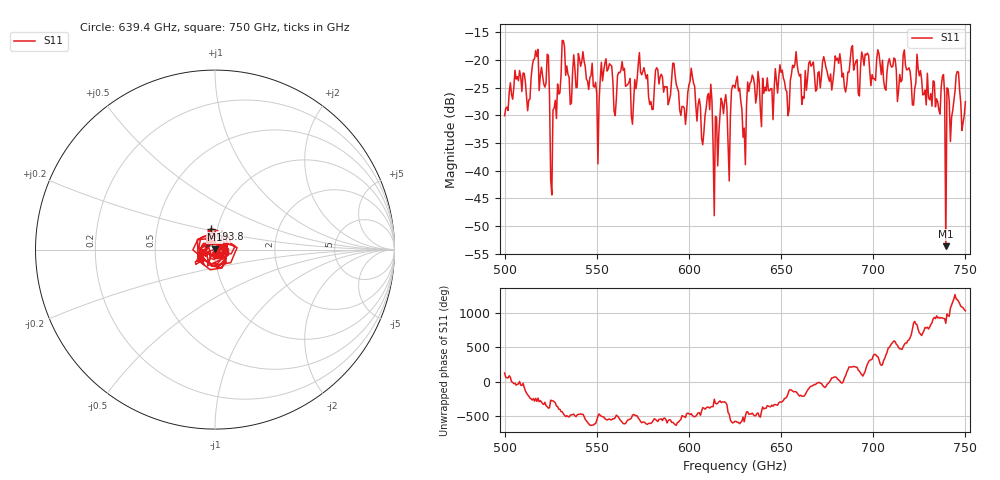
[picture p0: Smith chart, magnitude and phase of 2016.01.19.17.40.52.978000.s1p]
!Created with skrf (http://scikit-rf.org).
# GHz S RI R 50.0
!freq ReS11 ImS11
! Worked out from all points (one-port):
!   401 points, 500 GHz to 750 GHz, reference 50 ohm
!   lowest |S11| = -53.7 dB at 739.4 GHz (marker M1), VSWR 1.00, Z = 49.9 + j0.158 ohm
!   |S11| at or under -10 dB: start of sweep to end of sweep
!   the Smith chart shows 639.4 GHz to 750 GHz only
!   S11 on the Smith chart (normalised r, x): 639.4 GHz: 1.01, -0.05; 693.8 GHz: 0.93, +0.22; 750 GHz: 1.05, -0.07
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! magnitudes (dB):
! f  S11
! 500 GHz  -30.1
! 506.9 GHz  -23.0
! 513.1 GHz  -27.2
! 516.9 GHz  -18.3
! 523.1 GHz  -19.0
! 526.2 GHz  -29.0
! 531.2 GHz  -16.5
! 550 GHz  -26.1
! 553.8 GHz  -22.0
! 560 GHz  -30.1
! 562.5 GHz  -22.3
! 570 GHz  -27.7
! 593.8 GHz  -25.1
! 601.9 GHz  -23.0
! 607.5 GHz  -35.3
! 611.2 GHz  -29.0
! 614.4 GHz  -30.2
! 625 GHz  -25.0
! 630 GHz  -32.3
! 633.1 GHz  -24.2
! 639.4 GHz  -32.0
! 656.2 GHz  -21.0
! 687.5 GHz  -20.1
! 693.8 GHz  -18.6
! 718.8 GHz  -21.7
! 739.4 GHz  -53.7
! 745.6 GHz  -22.1
! 750 GHz  -27.5
